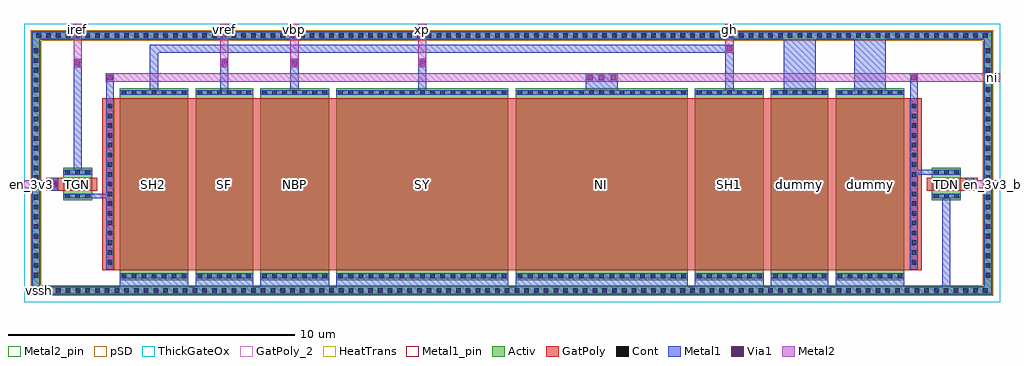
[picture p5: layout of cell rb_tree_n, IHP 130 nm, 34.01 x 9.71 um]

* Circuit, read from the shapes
.subckt rb_tree_n en_3v3 en_3v3_b gh iref ni vbp vref vssh xp
XM1 iref en_3v3 ni vssh sg13_hv_nmos w=1u l=0.45u
XM2 gh ni vssh vssh sg13_hv_nmos w=2.4u l=6u m=2
XM3 vref ni vssh vssh sg13_hv_nmos w=2u l=6u
XM4 vbp ni vssh vssh sg13_hv_nmos w=2.4u l=6u
XM5 xp ni vssh vssh sg13_hv_nmos w=6u l=6u
XM6 ni ni vssh vssh sg13_hv_nmos w=6u l=6u
XM7 vssh ni vssh vssh sg13_hv_nmos w=2u l=6u
XM8 vssh ni vssh vssh sg13_hv_nmos w=2.4u l=6u
XM9 ni en_3v3_b vssh vssh sg13_hv_nmos w=1u l=0.45u
.ends

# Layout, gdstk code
from math import pi, radians
import gdstk
lib = gdstk.Library(unit=1e-6, precision=1e-09)
def R(c, l, rs):  # rectangles x0, y0, x1, y1
    for r in rs: c.add(gdstk.rectangle(r[:2], r[2:], *l))
def A(c, l, x, y, w, h, nx, ny, dx, dy):  # array of equal rectangles
    R(c, l, [(x+i*dx, y+j*dy, x+i*dx+w, y+j*dy+h) for i in range(nx) for j in range(ny)])
Activ = (1, 0)
GatPoly = (5, 0)
GatPoly_2 = (5, 2)
Cont = (6, 0)
Metal1 = (8, 0)
Metal1_pin = (8, 2)
Metal2 = (10, 0)
Metal2_pin = (10, 2)
pSD = (14, 0)
Via1 = (19, 0)
ThickGateOx = (44, 0)
HeatTrans = (51, 0)

prb_nmoshv_4 = lib.new_cell('prb_nmosHV_4')
R(prb_nmoshv_4, Activ, [(0,0,0.3,0.3), (0,0,6.68,2.4), (6.38,0,6.68,0.3)])
R(prb_nmoshv_4, GatPoly, [(0.34,-0.18,6.34,2.58)])
R(prb_nmoshv_4, GatPoly_2, [(0.34,-0.18,6.34,2.58)])
A(prb_nmoshv_4, Cont, 0.07, 0.07, 0.16, 0.16, 1, 7, 0, 0.35)
A(prb_nmoshv_4, Cont, 6.45, 0.07, 0.16, 0.16, 1, 7, 0, 0.35)
R(prb_nmoshv_4, Metal1, [(0.07,0,0.23,2.4), (6.45,0,6.61,2.4)])
R(prb_nmoshv_4, Metal1_pin, [(0.07,0,0.23,2.4), (6.45,0,6.61,2.4)])
R(prb_nmoshv_4, ThickGateOx, [(-0.27,-0.52,6.95,2.92)])
R(prb_nmoshv_4, HeatTrans, [(0.34,-0.18,6.34,2.58)])
prb_nmoshv_4.add(gdstk.Label('nmosHV', (3.34,1.2), layer=63, texttype=0))
prb_nmoshv_4.add(gdstk.Label('nmosHV', (3.34,1.2), layer=51, texttype=0))

prb_nmoshv_1_1 = lib.new_cell('prb_nmosHV_1_1')
R(prb_nmoshv_1_1, Activ, [(0,0,0.3,0.3), (0,0,6.68,2), (6.38,0,6.68,0.3)])
R(prb_nmoshv_1_1, GatPoly, [(0.34,-0.18,6.34,2.18)])
R(prb_nmoshv_1_1, GatPoly_2, [(0.34,-0.18,6.34,2.18)])
A(prb_nmoshv_1_1, Cont, 0.07, 0.07, 0.16, 0.16, 1, 6, 0, 0.34)
A(prb_nmoshv_1_1, Cont, 6.45, 0.07, 0.16, 0.16, 1, 6, 0, 0.34)
R(prb_nmoshv_1_1, Metal1, [(0.07,0,0.23,2), (6.45,0,6.61,2)])
R(prb_nmoshv_1_1, Metal1_pin, [(0.07,0,0.23,2), (6.45,0,6.61,2)])
R(prb_nmoshv_1_1, ThickGateOx, [(-0.27,-0.52,6.95,2.52)])
R(prb_nmoshv_1_1, HeatTrans, [(0.34,-0.18,6.34,2.18)])
prb_nmoshv_1_1.add(gdstk.Label('nmosHV', (3.34,1), layer=63, texttype=0))
prb_nmoshv_1_1.add(gdstk.Label('nmosHV', (3.34,1), layer=51, texttype=0))

prb_nmoshv_2_1 = lib.new_cell('prb_nmosHV_2_1')
R(prb_nmoshv_2_1, Activ, [(0,0,0.3,0.3), (0,0,6.68,6), (6.38,0,6.68,0.3)])
R(prb_nmoshv_2_1, GatPoly, [(0.34,-0.18,6.34,6.18)])
R(prb_nmoshv_2_1, GatPoly_2, [(0.34,-0.18,6.34,6.18)])
A(prb_nmoshv_2_1, Cont, 0.07, 0.07, 0.16, 0.16, 1, 4, 0, 0.355)
A(prb_nmoshv_2_1, Cont, 6.45, 0.07, 0.16, 0.16, 1, 4, 0, 0.355)
A(prb_nmoshv_2_1, Cont, 0.07, 1.495, 0.16, 0.16, 1, 4, 0, 0.355)
A(prb_nmoshv_2_1, Cont, 6.45, 1.495, 0.16, 0.16, 1, 4, 0, 0.355)
A(prb_nmoshv_2_1, Cont, 0.07, 2.92, 0.16, 0.16, 1, 4, 0, 0.355)
A(prb_nmoshv_2_1, Cont, 6.45, 2.92, 0.16, 0.16, 1, 4, 0, 0.355)
A(prb_nmoshv_2_1, Cont, 0.07, 4.345, 0.16, 0.16, 1, 4, 0, 0.355)
A(prb_nmoshv_2_1, Cont, 6.45, 4.345, 0.16, 0.16, 1, 4, 0, 0.355)
R(prb_nmoshv_2_1, Cont, [(0.07,5.77,0.23,5.93), (6.45,5.77,6.61,5.93)])
R(prb_nmoshv_2_1, Metal1, [(0.07,0,0.23,6), (6.45,0,6.61,6)])
R(prb_nmoshv_2_1, Metal1_pin, [(0.07,0,0.23,6), (6.45,0,6.61,6)])
R(prb_nmoshv_2_1, ThickGateOx, [(-0.27,-0.52,6.95,6.52)])
R(prb_nmoshv_2_1, HeatTrans, [(0.34,-0.18,6.34,6.18)])
prb_nmoshv_2_1.add(gdstk.Label('nmosHV', (3.34,3), layer=63, texttype=0))
prb_nmoshv_2_1.add(gdstk.Label('nmosHV', (3.34,3), layer=51, texttype=0))

prb_nmoshv_3_1 = lib.new_cell('prb_nmosHV_3_1')
R(prb_nmoshv_3_1, Activ, [(0,0,0.3,0.3), (0,0,1.13,1), (0.83,0,1.13,0.3)])
R(prb_nmoshv_3_1, GatPoly, [(0.34,-0.18,0.79,1.18)])
R(prb_nmoshv_3_1, GatPoly_2, [(0.34,-0.18,0.79,1.18)])
A(prb_nmoshv_3_1, Cont, 0.07, 0.07, 0.16, 0.16, 1, 3, 0, 0.35)
A(prb_nmoshv_3_1, Cont, 0.9, 0.07, 0.16, 0.16, 1, 3, 0, 0.35)
R(prb_nmoshv_3_1, Metal1, [(0.07,0,0.23,1), (0.9,0,1.06,1)])
R(prb_nmoshv_3_1, Metal1_pin, [(0.07,0,0.23,1), (0.9,0,1.06,1)])
R(prb_nmoshv_3_1, ThickGateOx, [(-0.27,-0.52,1.4,1.52)])
R(prb_nmoshv_3_1, HeatTrans, [(0.34,-0.18,0.79,1.18)])
prb_nmoshv_3_1.add(gdstk.Label('nmosHV', (0.565,0.5), layer=63, texttype=0))
prb_nmoshv_3_1.add(gdstk.Label('nmosHV', (0.565,0.5), layer=51, texttype=0))

rb_tree_n = lib.new_cell('rb_tree_n')
R(rb_tree_n, Activ, [(-3.06,-0.51,30.41,-0.21), (-3.06,-0.51,-2.76,8.665), (30.11,-0.51,30.41,8.665), (-3.06,8.365,30.41,8.665)])
R(rb_tree_n, GatPoly, [(-0.6,0.34,-0.1,6.34), (27.45,0.34,27.95,6.34), (-2.56,3.115,-2.06,3.565), (29.41,3.115,29.91,3.565)])
A(rb_tree_n, Cont, -2.895, -0.44, 0.16, 0.16, 98, 2, 0.34, 8.875)
A(rb_tree_n, Cont, -2.99, 0.085, 0.16, 0.16, 1, 12, 0, 0.34)
A(rb_tree_n, Cont, 30.18, 0.085, 0.16, 0.16, 1, 12, 0, 0.34)
A(rb_tree_n, Cont, -0.41, 0.54, 0.16, 0.16, 1, 17, 0, 0.34)
A(rb_tree_n, Cont, 27.6, 0.54, 0.16, 0.16, 1, 17, 0, 0.34)
A(rb_tree_n, Cont, -2.99, 4.17, 0.16, 0.16, 1, 12, 0, 0.34)
A(rb_tree_n, Cont, 30.18, 4.17, 0.16, 0.16, 1, 12, 0, 0.34)
R(rb_tree_n, Cont, [(-2.37,3.26,-2.21,3.42), (29.56,3.26,29.72,3.42)])
R(rb_tree_n, Metal1, [(-3.04,-0.49,30.39,-0.23), (-3.04,-0.49,-2.78,8.645), (30.13,-0.49,30.39,8.645), (0,-0.23,2.4,0.23), (2.65,-0.23,4.65,0.23), (4.9,-0.23,7.3,0.23), (7.55,-0.23,13.55,0.23), (13.8,-0.23,19.8,0.23), (20.05,-0.23,22.45,0.23), (22.7,-0.23,24.7,0.23), (24.95,-0.23,27.35,0.23), (28.665,-0.23,28.955,3.005), (-0.46,0.36,-0.2,7.205), (27.55,0.36,27.81,7.205), (-1.06,2.845,-0.33,3.005), (-2.42,3.115,-2.16,3.565), (29.51,3.115,29.77,3.565), (-1.605,3.675,-1.315,7.705), (27.68,3.675,28.41,3.835), (1.055,6.45,1.345,8.205), (3.505,6.45,3.795,7.705), (5.955,6.45,6.245,7.705), (10.405,6.45,10.695,7.705), (16.245,6.45,17.355,7.205), (21.105,6.45,21.395,8.205), (23.145,6.45,24.255,8.385), (25.595,6.45,26.705,8.385), (1.055,7.915,21.395,8.205), (-3.04,8.385,30.39,8.645)])
R(rb_tree_n, Metal1_pin, [(-3.04,-0.49,-2.54,-0.23)])
R(rb_tree_n, Metal2, [(-3.33,3.195,-2.145,3.485), (29.495,3.195,30.68,3.485), (-0.475,6.915,30.68,7.205), (-1.605,7.415,-1.315,8.935), (3.505,7.415,3.795,8.935), (5.955,7.415,6.245,8.935), (10.405,7.415,10.695,8.935), (21.105,7.915,21.395,8.935)])
R(rb_tree_n, Metal2_pin, [(-3.33,3.195,-2.83,3.485), (30.18,3.195,30.68,3.485), (30.18,6.915,30.68,7.205), (-1.605,8.535,-1.315,8.935), (3.505,8.535,3.795,8.935), (5.955,8.535,6.245,8.935), (10.405,8.535,10.695,8.935), (21.105,8.535,21.395,8.935)])
R(rb_tree_n, pSD, [(-3.09,-0.54,30.44,-0.18), (-3.09,-0.54,-2.73,8.695), (30.08,-0.54,30.44,8.695), (-3.09,8.335,30.44,8.695)])
A(rb_tree_n, Via1, 16.295, 6.965, 0.19, 0.19, 3, 1, 0.41, 0)
R(rb_tree_n, Via1, [(-2.385,3.245,-2.195,3.435), (29.545,3.245,29.735,3.435), (-0.425,6.965,-0.235,7.155), (27.585,6.965,27.775,7.155), (-1.555,7.465,-1.365,7.655), (3.555,7.465,3.745,7.655), (6.005,7.465,6.195,7.655), (10.455,7.465,10.645,7.655), (21.155,7.965,21.345,8.155)])
R(rb_tree_n, ThickGateOx, [(-3.33,-0.78,30.68,8.935)])
rb_tree_n.add(gdstk.Reference(prb_nmoshv_4, (0,6.68), rotation=3*pi/2))
rb_tree_n.add(gdstk.Reference(prb_nmoshv_1_1, (2.65,6.68), rotation=3*pi/2))
rb_tree_n.add(gdstk.Reference(prb_nmoshv_4, (4.9,6.68), rotation=3*pi/2))
rb_tree_n.add(gdstk.Reference(prb_nmoshv_2_1, (7.55,6.68), rotation=3*pi/2))
rb_tree_n.add(gdstk.Reference(prb_nmoshv_2_1, (19.8,6.68), rotation=3*pi/2, x_reflection=True))
rb_tree_n.add(gdstk.Reference(prb_nmoshv_4, (22.45,6.68), rotation=3*pi/2, x_reflection=True))
rb_tree_n.add(gdstk.Reference(prb_nmoshv_1_1, (24.7,6.68), rotation=3*pi/2, x_reflection=True))
rb_tree_n.add(gdstk.Reference(prb_nmoshv_4, (27.35,6.68), rotation=3*pi/2, x_reflection=True))
rb_tree_n.add(gdstk.Reference(prb_nmoshv_3_1, (-1.96,3.905), rotation=3*pi/2))
rb_tree_n.add(gdstk.Reference(prb_nmoshv_3_1, (29.31,3.905), rotation=3*pi/2, x_reflection=True))
rb_tree_n.add(gdstk.Label('SH2', (1.2,3.34), layer=63, texttype=0))
rb_tree_n.add(gdstk.Label('SF', (3.65,3.34), layer=63, texttype=0))
rb_tree_n.add(gdstk.Label('NBP', (6.1,3.34), layer=63, texttype=0))
rb_tree_n.add(gdstk.Label('SY', (10.55,3.34), layer=63, texttype=0))
rb_tree_n.add(gdstk.Label('NI', (16.8,3.34), layer=63, texttype=0))
rb_tree_n.add(gdstk.Label('SH1', (21.25,3.34), layer=63, texttype=0))
rb_tree_n.add(gdstk.Label('dummy', (23.7,3.34), layer=63, texttype=0))
rb_tree_n.add(gdstk.Label('dummy', (26.15,3.34), layer=63, texttype=0))
rb_tree_n.add(gdstk.Label('TGN', (-1.46,3.34), layer=63, texttype=0))
rb_tree_n.add(gdstk.Label('TDN', (28.81,3.34), layer=63, texttype=0))
rb_tree_n.add(gdstk.Label('ni', (30.43,7.06), layer=10, texttype=25))
rb_tree_n.add(gdstk.Label('gh', (21.25,8.735), layer=10, texttype=25))
rb_tree_n.add(gdstk.Label('vref', (3.65,8.735), layer=10, texttype=25))
rb_tree_n.add(gdstk.Label('vbp', (6.1,8.735), layer=10, texttype=25))
rb_tree_n.add(gdstk.Label('xp', (10.55,8.735), layer=10, texttype=25))
rb_tree_n.add(gdstk.Label('iref', (-1.46,8.735), layer=10, texttype=25))
rb_tree_n.add(gdstk.Label('en_3v3', (-3.08,3.34), layer=10, texttype=25))
rb_tree_n.add(gdstk.Label('en_3v3_b', (30.43,3.34), layer=10, texttype=25))
rb_tree_n.add(gdstk.Label('vssh', (-2.79,-0.36), layer=8, texttype=25))

lib.write_gds('rb_tree_n.gds')
